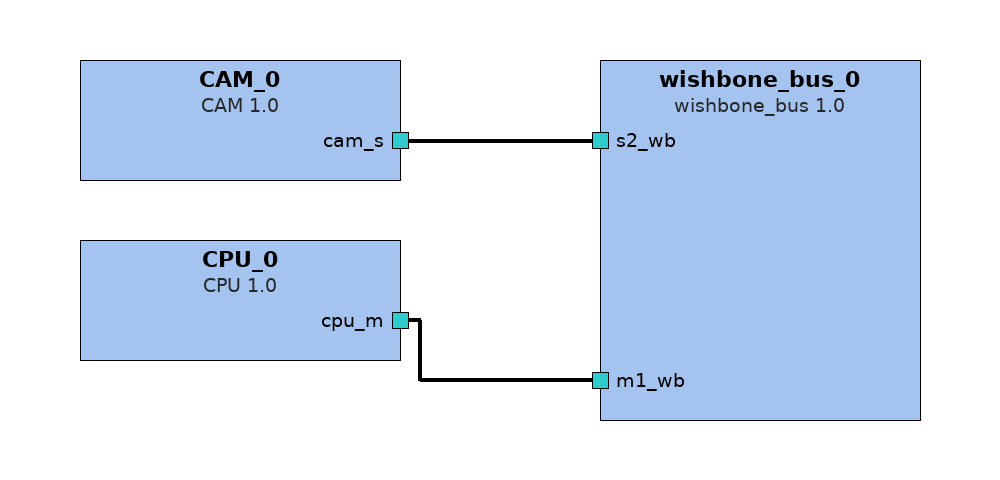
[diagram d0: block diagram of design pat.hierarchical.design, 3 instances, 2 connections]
<?xml version="1.0" encoding="UTF-8"?>
<!-- Created by Kactus216:13:04 15.01.2013 -->
<spirit:design xmlns:kactus2="http://funbase.cs.tut.fi/" xmlns:spirit="http://www.spiritconsortium.org/XMLSchema/SPIRIT/1.5" xmlns:xsi="http://www.w3.org/2001/XMLSchema-instance" xsi:schemaLocation="http://www.spiritconsortium.org/XMLSchema/SPIRIT/1.5 http://www.spiritconsortium.org/XMLSchema/SPIRIT/1.5/index.xsd"><spirit:vendor>TUM</spirit:vendor><spirit:library>soc</spirit:library><spirit:name>pat.hierarchical.design</spirit:name>
 <spirit:version>1.0</spirit:version><spirit:componentInstances>
 <spirit:componentInstance><spirit:instanceName>wishbone_bus_0</spirit:instanceName><spirit:componentRef spirit:vendor="TUM" spirit:library="soc" spirit:name="wishbone_bus" spirit:version="1.0"/></spirit:componentInstance>
 <spirit:componentInstance><spirit:instanceName>CPU_0</spirit:instanceName><spirit:componentRef spirit:vendor="TUM" spirit:library="soc" spirit:name="CPU" spirit:version="1.0"/></spirit:componentInstance>
 <spirit:componentInstance><spirit:instanceName>CAM_0</spirit:instanceName><spirit:componentRef spirit:vendor="TUM" spirit:library="soc" spirit:name="CAM" spirit:version="1.0"/></spirit:componentInstance>
</spirit:componentInstances><spirit:interconnections>
 <spirit:interconnection><spirit:name>wishbone_bus_0_m1_wb_to_CPU_0_cpu_m</spirit:name><spirit:activeInterface spirit:componentRef="wishbone_bus_0" spirit:busRef="m1_wb"/><spirit:activeInterface spirit:componentRef="CPU_0" spirit:busRef="cpu_m"/></spirit:interconnection>
 <spirit:interconnection><spirit:name>CAM_0_cam_s_to_wishbone_bus_0_s2_wb</spirit:name><spirit:activeInterface spirit:componentRef="CAM_0" spirit:busRef="cam_s"/><spirit:activeInterface spirit:componentRef="wishbone_bus_0" spirit:busRef="s2_wb"/></spirit:interconnection>
</spirit:interconnections></spirit:design>

